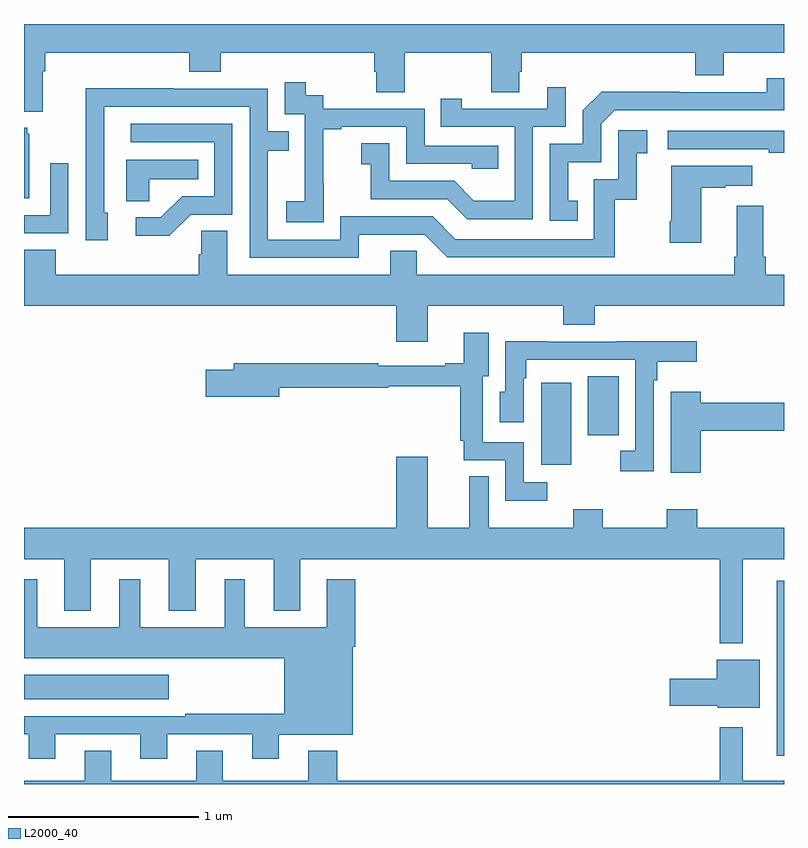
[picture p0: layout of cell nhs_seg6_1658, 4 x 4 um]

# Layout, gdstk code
import gdstk
lib = gdstk.Library(unit=1e-6, precision=1e-09)
def R(c, l, rs):  # rectangles x0, y0, x1, y1
    for r in rs: c.add(gdstk.rectangle(r[:2], r[2:], *l))
def P(c, l, *ps):  # polygons
    for p in ps: c.add(gdstk.Polygon(p, *l))
L2000_40 = (2000, 40)

nhs_seg6_1658 = lib.new_cell('nhs_seg6_1658')
R(nhs_seg6_1658, L2000_40, [(214.961,931.649,215,932.569), (211,931.946,211.762,932.074), (213.722,933.18,213.88,933.613), (213.968,933.336,214.129,933.647)])
P(nhs_seg6_1658, L2000_40, [(211.099,935.252),(211.112,935.252),(211.112,935.348),(211.871,935.348),(211.871,935.249),(212.036,935.249),(212.036,935.348),(212.843,935.348),(212.843,935.25),(212.855,935.25),(212.855,935.14),(213.003,935.14),(213.003,935.348),(213.46,935.348),(213.46,935.14),(213.607,935.14),(213.607,935.25),(213.62,935.25),(213.62,935.348),(214.532,935.348),(214.532,935.231),(214.684,935.231),(214.684,935.348),(215,935.348),(215,935.5),(211,935.5),(211,935.039),(211.099,935.039)],
  [(213.914,934.569),(213.865,934.569),(213.865,934.773),(214.038,934.773),(214.038,934.974),(214.11,935.046),(215,935.046),(215,935.215),(214.908,935.215),(214.908,935.142),(214.448,935.142),(214.448,935.144),(214.04,935.144),(213.942,935.046),(213.942,934.869),(213.768,934.869),(213.768,934.464),(213.914,934.464)],
  [(212.577,934.663),(212.576,934.663),(212.576,934.947),(212.671,934.947),(212.671,934.959),(213.012,934.959),(213.012,934.764),(213.357,934.764),(213.357,934.737),(213.497,934.737),(213.497,934.86),(213.108,934.86),(213.108,935.055),(212.574,935.055),(212.574,935.124),(212.482,935.124),(212.482,935.194),(212.373,935.194),(212.373,935.025),(212.478,935.025),(212.478,934.796),(212.477,934.796),(212.477,934.567),(212.379,934.567),(212.379,934.457),(212.577,934.457)],
  [(213.678,934.959),(213.852,934.959),(213.852,935.167),(213.755,935.167),(213.755,935.055),(213.304,935.055),(213.304,935.107),(213.193,935.107),(213.193,934.959),(213.582,934.959),(213.582,934.57),(213.368,934.57),(213.264,934.674),(212.922,934.674),(212.922,934.873),(212.775,934.873),(212.775,934.763),(212.824,934.763),(212.824,934.578),(213.227,934.578),(213.332,934.473),(213.678,934.473)],
  [(212.761,934.392),(213.108,934.392),(213.228,934.272),(214.108,934.272),(214.108,934.575),(214.226,934.575),(214.226,934.821),(214.279,934.821),(214.279,934.942),(214.128,934.942),(214.128,934.683),(213.999,934.683),(213.999,934.368),(213.27,934.368),(213.15,934.488),(212.664,934.488),(212.664,934.365),(212.283,934.365),(212.283,934.834),(212.393,934.834),(212.393,934.935),(212.283,934.935),(212.283,935.16),(211.787,935.16),(211.787,935.162),(211.324,935.162),(211.324,934.855),(211.326,934.855),(211.326,934.362),(211.441,934.362),(211.441,934.506),(211.422,934.506),(211.422,935.064),(212.187,935.064),(212.187,934.269),(212.761,934.269)],
  [(211.878,934.497),(212.097,934.497),(212.097,934.974),(211.563,934.974),(211.563,934.878),(212.001,934.878),(212.001,934.593),(211.832,934.593),(211.721,934.482),(211.587,934.482),(211.587,934.385),(211.765,934.385)],
  [(211.027,934.923),(211.016,934.923),(211.016,934.954),(211,934.954),(211,934.583),(211.027,934.583)],
  [(215,934.938),(214.389,934.938),(214.389,934.842),(214.921,934.842),(214.921,934.822),(215,934.822)],
  [(211.659,934.682),(211.916,934.682),(211.916,934.786),(211.538,934.786),(211.538,934.567),(211.659,934.567)],
  [(211.233,934.768),(211.137,934.768),(211.137,934.494),(211,934.494),(211,934.398),(211.233,934.398)],
  [(214.564,934.639),(214.691,934.639),(214.691,934.649),(214.834,934.649),(214.834,934.753),(214.406,934.753),(214.406,934.462),(214.399,934.462),(214.399,934.35),(214.564,934.35)],
  [(213.124,934.016),(213.839,934.016),(213.839,933.917),(214.004,933.917),(214.004,934.016),(215,934.016),(215,934.18),(214.904,934.18),(214.904,934.276),(214.891,934.276),(214.891,934.543),(214.751,934.543),(214.751,934.276),(214.739,934.276),(214.739,934.18),(213.066,934.18),(213.066,934.307),(212.927,934.307),(212.927,934.18),(212.071,934.18),(212.071,934.412),(211.932,934.412),(211.932,934.289),(211.919,934.289),(211.919,934.18),(211.166,934.18),(211.166,934.313),(211.001,934.313),(211.001,934.18),(211,934.18),(211,934.016),(212.96,934.016),(212.96,933.828),(213.124,933.828)],
  [(213.754,933.087),(213.63,933.087),(213.63,933.3),(213.415,933.3),(213.415,933.645),(213.445,933.645),(213.445,933.874),(213.314,933.874),(213.314,933.715),(213.218,933.715),(213.218,933.702),(212.864,933.702),(212.864,933.715),(212.105,933.715),(212.105,933.681),(211.956,933.681),(211.956,933.539),(212.344,933.539),(212.344,933.586),(212.918,933.586),(212.918,933.594),(213.297,933.594),(213.297,933.307),(213.314,933.307),(213.314,933.204),(213.534,933.204),(213.534,932.99),(213.754,932.99)],
  [(214.314,933.626),(214.334,933.626),(214.334,933.722),(214.54,933.722),(214.54,933.83),(214.121,933.83),(214.121,933.828),(213.755,933.828),(213.755,933.83),(213.534,933.83),(213.534,933.564),(213.503,933.564),(213.503,933.405),(213.63,933.405),(213.63,933.635),(213.643,933.635),(213.643,933.732),(214.218,933.732),(214.218,933.255),(214.137,933.255),(214.137,933.147),(214.314,933.147)],
  [(214.562,933.359),(215,933.359),(215,933.506),(214.562,933.506),(214.562,933.565),(214.403,933.565),(214.403,933.138),(214.562,933.138)],
  [(214.783,932.684),(215,932.684),(215,932.848),(214.544,932.848),(214.544,932.947),(214.384,932.947),(214.384,932.848),(214.047,932.848),(214.047,932.947),(213.892,932.947),(213.892,932.848),(213.445,932.848),(213.445,933.119),(213.344,933.119),(213.344,932.848),(213.124,932.848),(213.124,933.223),(212.96,933.223),(212.96,932.848),(211,932.848),(211,932.684),(211.211,932.684),(211.211,932.411),(211.351,932.411),(211.351,932.684),(211.763,932.684),(211.763,932.411),(211.903,932.411),(211.903,932.684),(212.315,932.684),(212.315,932.411),(212.455,932.411),(212.455,932.684),(214.662,932.684),(214.662,932.24),(214.783,932.24)],
  [(211.165,931.761),(211.613,931.761),(211.613,931.632),(211.753,931.632),(211.753,931.761),(212.201,931.761),(212.201,931.632),(212.341,931.632),(212.341,931.76),(212.731,931.76),(212.731,932.222),(212.744,932.222),(212.744,932.578),(212.594,932.578),(212.594,932.326),(212.161,932.326),(212.161,932.578),(212.057,932.578),(212.057,932.326),(211.612,932.326),(211.612,932.578),(211.502,932.578),(211.502,932.326),(211.069,932.326),(211.069,932.578),(211,932.578),(211,932.162),(212.369,932.162),(212.369,931.87),(211.849,931.87),(211.849,931.857),(211,931.857),(211,931.761),(211.025,931.761),(211.025,931.632),(211.165,931.632)],
  [(214.873,932.155),(214.646,932.155),(214.646,932.054),(214.398,932.054),(214.398,931.912),(214.65,931.912),(214.65,931.901),(214.873,931.901)],
  [(215,931.516),(214.783,931.516),(214.783,931.798),(214.662,931.798),(214.662,931.516),(212.648,931.516),(212.648,931.675),(212.495,931.675),(212.495,931.516),(212.047,931.516),(212.047,931.676),(211.907,931.676),(211.907,931.516),(211.459,931.516),(211.459,931.676),(211.319,931.676),(211.319,931.516),(211,931.516),(211,931.5),(215,931.5)])

lib.write_gds('nhs_seg6_1658.gds')
